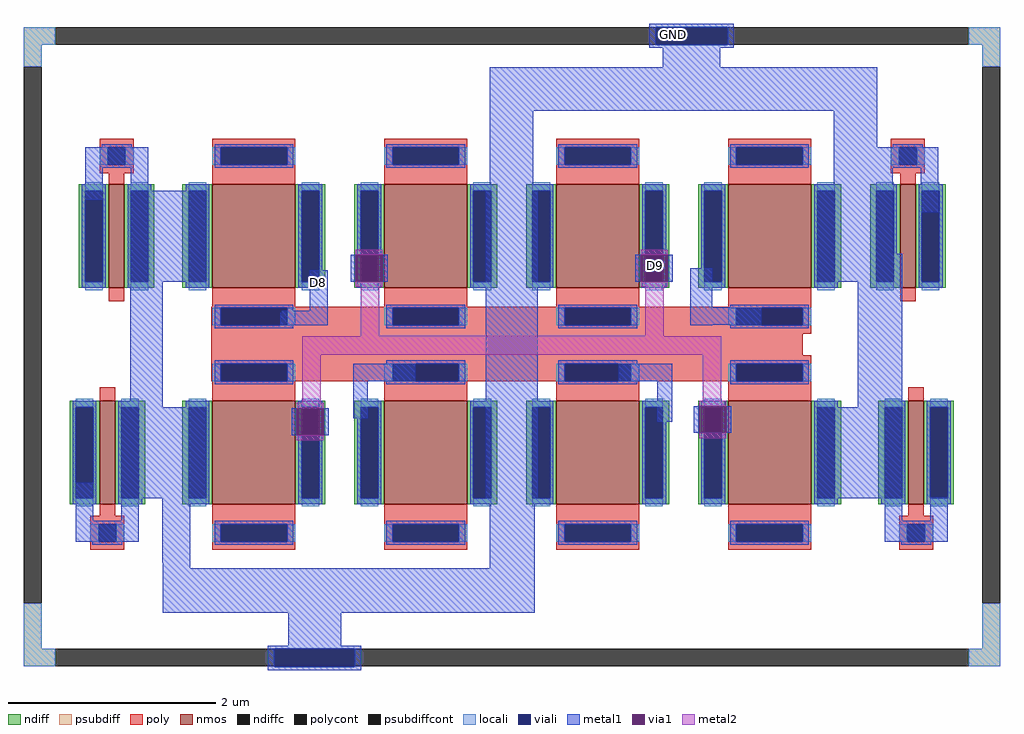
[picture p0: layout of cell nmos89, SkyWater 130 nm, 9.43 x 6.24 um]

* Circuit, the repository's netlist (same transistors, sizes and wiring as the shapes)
** sch_path: /home/chandra_hartono/project/opamp/mag/nmos89.sch
.subckt nmos89 D8 D9 GND
*.PININFO GND:B D9:B D8:B
XM8 D8 D8 GND GND sky130_fd_pr__nfet_01v8 L=0.8 W=1 nf=1 m=4
XM9 D9 D8 GND GND sky130_fd_pr__nfet_01v8 L=0.8 W=1 nf=1 m=4
XM1 GND GND GND GND sky130_fd_pr__nfet_01v8 L=0.15 W=1 nf=1 m=2
XM2 GND GND GND GND sky130_fd_pr__nfet_01v8 L=0.15 W=1 nf=1 m=2
.ends
.end

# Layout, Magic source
magic
tech sky130A
magscale 1 2
<< psubdiff >>
rect -306 976 -246 1010
rect 1519 976 1579 1010
rect -306 933 -272 976
rect 1545 933 1579 976
rect -306 -191 -272 -103
rect 1545 -191 1579 -103
rect -306 -225 -246 -191
rect 1519 -225 1579 -191
<< psubdiffcont >>
rect -246 976 1519 1010
rect -306 -103 -272 933
rect 1545 -103 1579 933
rect -246 -225 1519 -191
<< poly >>
rect 56 326 1198 470
<< locali >>
rect -306 976 -246 1010
rect 1519 976 1579 1010
rect -306 933 -272 976
rect -306 -191 -272 -103
rect 1545 933 1579 976
rect 1545 -191 1579 -103
rect -306 -225 -246 -191
rect 1519 -225 1579 -191
<< viali >>
rect 914 976 1053 1010
rect 177 -225 333 -191
rect 177 -226 333 -225
<< metal1 >>
rect 902 1010 1065 1016
rect 902 976 914 1010
rect 1053 976 1065 1010
rect 902 970 1065 976
rect 928 932 1039 970
rect 594 848 1342 932
rect -188 744 -66 778
rect -188 676 -154 744
rect -100 694 -66 744
rect 594 694 678 848
rect 1258 778 1342 848
rect 1258 744 1460 778
rect 1258 694 1372 744
rect -100 575 46 694
rect -101 518 46 575
rect -101 276 -38 518
rect 246 462 281 540
rect 325 518 335 570
rect 387 518 397 570
rect 192 458 281 462
rect 189 434 281 458
rect 330 326 450 360
rect -206 50 -172 130
rect -120 100 46 276
rect 211 222 221 274
rect 273 222 283 274
rect 330 254 358 326
rect 586 100 686 694
rect 1224 572 1372 694
rect 1426 652 1460 744
rect 875 518 885 570
rect 937 518 947 570
rect 981 469 1023 544
rect 1224 518 1390 572
rect 981 435 1118 469
rect 981 434 1023 435
rect 843 326 946 360
rect 917 248 946 326
rect 988 226 998 278
rect 1050 226 1060 278
rect 1304 276 1390 518
rect 1226 100 1390 276
rect -118 50 -84 100
rect -206 16 -84 50
rect -39 -25 15 100
rect -38 -35 15 -25
rect 594 -35 680 100
rect 1356 50 1390 100
rect 1444 50 1478 102
rect 1356 16 1478 50
rect -38 -121 680 -35
rect 204 -185 307 -121
rect 165 -191 345 -185
rect 165 -226 177 -191
rect 333 -226 345 -191
rect 165 -232 345 -226
<< via1 >>
rect 335 518 387 570
rect 221 222 273 274
rect 885 518 937 570
rect 998 226 1050 278
<< metal2 >>
rect 335 570 387 580
rect 335 508 387 518
rect 885 570 937 580
rect 885 508 937 518
rect 344 414 380 508
rect 894 414 930 508
rect 344 413 930 414
rect 231 377 1041 413
rect 231 284 267 377
rect 1005 288 1041 377
rect 221 274 273 284
rect 221 212 273 222
rect 998 278 1050 288
rect 998 216 1050 226
use sky130_fd_pr__nfet_01v8_C77M8X  sky130_fd_pr__nfet_01v8_C77M8X_0
transform 1 0 636 0 1 397
box -636 -397 636 397
use sky130_fd_pr__nfet_01v8_UPT43B  sky130_fd_pr__nfet_01v8_UPT43B_0
transform 1 0 1417 0 -1 157
box -73 -157 73 157
use sky130_fd_pr__nfet_01v8_UPT43B  sky130_fd_pr__nfet_01v8_UPT43B_1
transform 1 0 -127 0 1 637
box -73 -157 73 157
use sky130_fd_pr__nfet_01v8_UPT43B  sky130_fd_pr__nfet_01v8_UPT43B_2
transform 1 0 1401 0 1 637
box -73 -157 73 157
use sky130_fd_pr__nfet_01v8_UPT43B  sky130_fd_pr__nfet_01v8_UPT43B_3
transform 1 0 -145 0 -1 157
box -73 -157 73 157
<< labels >>
flabel viali 948 996 948 996 0 FreeSans 320 0 0 0 GND
port 0 nsew
flabel metal1 262 516 262 516 0 FreeSans 320 0 0 0 D8
port 1 nsew
flabel via1 914 550 914 550 0 FreeSans 320 0 0 0 D9
port 2 nsew
<< end >>

# cell sky130_fd_pr__nfet_01v8_C77M8X: kit device sky130_fd_pr__nfet_01v8, w 1 l 0.8 m 2 nf 4 diffcov 100 polycov 100 guard 0 glc 1 grc 1 gtc 1 gbc 1 tbcov 100 rlcov 100 topc 1 botc 1 poverlap 0 doverlap 0 lmin 0.15 wmin 0.42 compatible {sky130_fd_pr__nfet_01v8 sky130_fd_pr__nfet_01v8_lvt sky130_fd_bs_flash__special_sonosfet_star sky130_fd_pr__nfet_g5v0d10v5 sky130_fd_pr__nfet_05v0_nvt sky130_fd_pr__nfet_03v3_nvt} full_metal 1 viasrc 100 viadrn 100 viagate 100 viagb 0 viagr 0 viagl 0 viagt 0

# cell sky130_fd_pr__nfet_01v8_UPT43B: kit device sky130_fd_pr__nfet_01v8, w 1 l 0.150 m 1 nf 1 diffcov 100 polycov 100 guard 0 glc 1 grc 1 gtc 1 gbc 1 tbcov 100 rlcov 100 topc 1 botc 0 poverlap 0 doverlap 1 lmin 0.15 wmin 0.42 compatible {sky130_fd_pr__nfet_01v8 sky130_fd_pr__nfet_01v8_lvt sky130_fd_bs_flash__special_sonosfet_star sky130_fd_pr__nfet_g5v0d10v5 sky130_fd_pr__nfet_05v0_nvt sky130_fd_pr__nfet_03v3_nvt} full_metal 1 viasrc 100 viadrn 100 viagate 100 viagb 0 viagr 0 viagl 0 viagt 0
